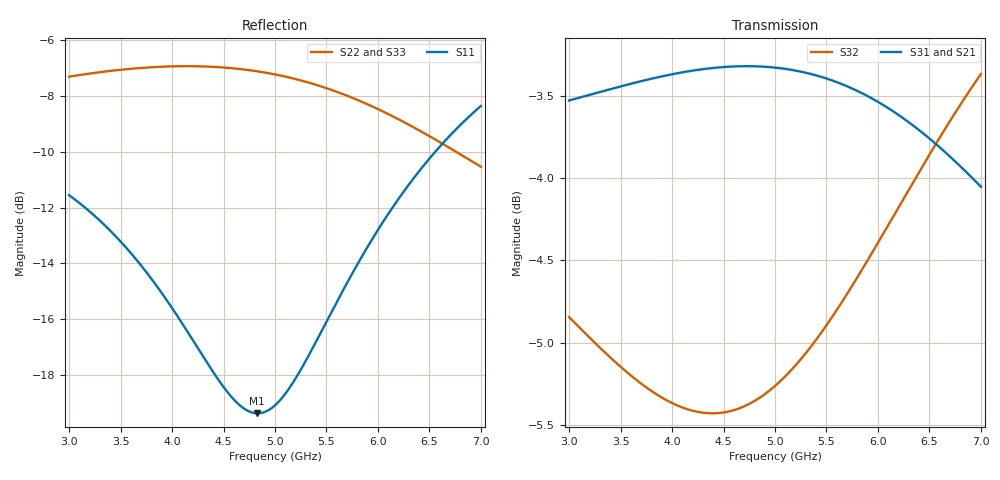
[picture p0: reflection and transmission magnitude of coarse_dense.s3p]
! yapnr rf: r1t-osh-w-w-eq-em528, footprint re-simulated (optimization grid)
! spec sha256 d2290b99615c160990ec28ce10777fe32250b82c44eb9106eb30785a72655881
! 3 ports renormalized to 50 ohm, e^(+jwt) convention
# GHz S RI R 50
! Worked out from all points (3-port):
!   161 points, 3 GHz to 7 GHz, reference 50 ohm
!   strongest paths, dB at 3 GHz, 4 GHz, 5 GHz, 6 GHz, 7 GHz:
!     S31: -3.5, -3.4, -3.3, -3.5, -4.1
!     S21: -3.5, -3.4, -3.3, -3.5, -4.1
!     S32: -4.8, -5.4, -5.3, -4.4, -3.4
!   lowest |S11| = -19.4 dB at 4.825 GHz (marker M1), VSWR 1.24, Z = 61.2 + j4.19 ohm
!   |S11| at or under -10 dB: start of sweep to 6.556 GHz
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3  -0.1538 0.2151  -0.3503 -0.5676  -0.3503 -0.5676
   -0.3498 -0.5669  0.1933 0.3857  -0.4563 -0.3458
   -0.3498 -0.5669  -0.4563 -0.3458  0.1933 0.3857
3.475  -0.0753 0.2076  -0.5315 -0.4137  -0.5315 -0.4137
       -0.5302 -0.4135  0.3438 0.28  -0.5317 -0.155
       -0.5302 -0.4135  -0.5317 -0.155  0.3438 0.28
3.975  0.00547 0.1684  -0.6535 -0.1858  -0.6535 -0.1858
       -0.6519 -0.1869  0.4385 0.1012  -0.5377 0.0457
       -0.6519 -0.1869  -0.5377 0.0457  0.4385 0.1012
4.4  0.0629 0.1106  -0.6811 0.0385  -0.6811 0.0385
     -0.6805 0.0361  0.4432 -0.0737  -0.4955 0.2026
     -0.6805 0.0361  -0.4955 0.2026  0.4432 -0.0737
4.825  0.1019 0.0338  -0.6294 0.2627  -0.6294 0.2627
       -0.6308 0.2598  0.3749 -0.2325  -0.4174 0.3433
       -0.6308 0.2598  -0.4174 0.3433  0.3749 -0.2325
5  0.1109 -0.00211  -0.5854 0.3478  -0.5854 0.3478
   -0.5877 0.3453  0.3289 -0.2853  -0.3751 0.3962
   -0.5877 0.3453  -0.3751 0.3962  0.3289 -0.2853
5.525  0.108 -0.118  -0.3854 0.5522  -0.3854 0.5522
       -0.3896 0.5525  0.154 -0.3799  -0.2087 0.5312
       -0.3896 0.5525  -0.2087 0.5312  0.154 -0.3799
6.025  0.0579 -0.2256  -0.1325 0.647  -0.1325 0.647
       -0.1357 0.6508  -0.0185 -0.375  0.00758 0.6049
       -0.1357 0.6508  0.00758 0.6049  -0.0185 -0.375
6.525  -0.0383 -0.3091  0.1303 0.629  0.1303 0.629
       0.1308 0.6343  -0.1509 -0.2995  0.2638 0.5867
       0.1308 0.6343  0.2638 0.5867  -0.1509 -0.2995
7  -0.1619 -0.3463  0.3443 0.5181  0.3443 0.5181
   0.3482 0.5216  -0.2229 -0.1969  0.5009 0.4577
   0.3482 0.5216  0.5009 0.4577  -0.2229 -0.1969
